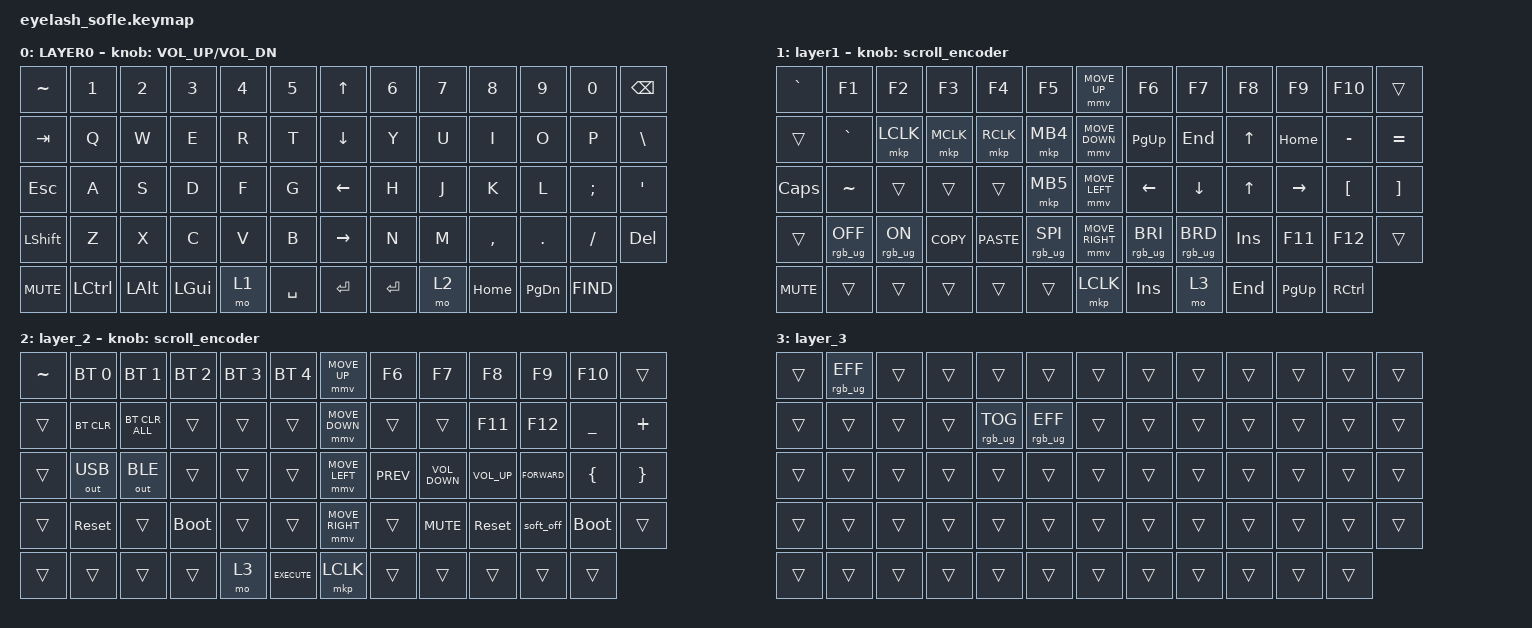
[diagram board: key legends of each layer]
#define ZMK_POINTING_DEFAULT_MOVE_VAL 1200  // 600
#define ZMK_POINTING_DEFAULT_SCRL_VAL 25   // 10

#include <input/processors.dtsi>
#include <zephyr/dt-bindings/input/input-event-codes.h>
#include <behaviors.dtsi>
#include <dt-bindings/zmk/bt.h>
#include <dt-bindings/zmk/keys.h>
#include <dt-bindings/zmk/outputs.h>
#include <dt-bindings/zmk/pointing.h>
#include <dt-bindings/zmk/rgb.h>

&mmv_input_listener { input-processors = <&zip_xy_scaler 2 1>; };

&msc_input_listener { input-processors = <&zip_scroll_scaler 2 1>; };

&msc {
    acceleration-exponent = <1>;      // 0
    time-to-max-speed-ms = <100>;       // 300
    delay-ms = <0>;                   // 0
};

&mmv {
    time-to-max-speed-ms = <500>;
    acceleration-exponent = <1>;
    trigger-period-ms = <16>;
};

/ {
    scroll_encoder: scroll_encoder {
        compatible = "zmk,behavior-sensor-rotate";
        #sensor-binding-cells = <0>;
        bindings = <&msc SCRL_DOWN>, <&msc SCRL_UP>;

        tap-ms = <100>;
    };

    behaviors {
    };

    keymap {
        compatible = "zmk,keymap";

        layer0 {
            bindings = <
&kp TILDE   &kp N1     &kp N2        &kp N3        &kp N4  &kp N5       &kp UP_ARROW     &kp N6      &kp N7  &kp N8     &kp N9         &kp N0      &kp BACKSPACE
&kp TAB     &kp Q      &kp W         &kp E         &kp R   &kp T        &kp DOWN_ARROW   &kp Y       &kp U   &kp I      &kp O          &kp P       &kp BSLH
&kp ESCAPE  &kp A      &kp S         &kp D         &kp F   &kp G        &kp LEFT_ARROW   &kp H       &kp J   &kp K      &kp L          &kp SEMI    &kp APOS
&kp LSHFT   &kp Z      &kp X         &kp C         &kp V   &kp B        &kp RIGHT_ARROW  &kp N       &kp M   &kp COMMA  &kp DOT        &kp FSLH    &kp DELETE
&kp C_MUTE  &kp LCTRL  &kp LEFT_ALT  &kp LEFT_GUI  &mo 1   &kp SPACE    &kp ENTER        &kp RETURN  &mo 2   &kp HOME   &kp PAGE_DOWN  &kp K_FIND
            >;

            sensor-bindings = <&inc_dec_kp C_VOLUME_UP C_VOL_DN>;
            display-name = "LAYER0";
        };

        layer_1 {
            bindings = <
&kp GRAVE     &kp F1           &kp F2          &kp F3      &kp F4       &kp F5             &mmv MOVE_UP     &kp F6           &kp F7           &kp F8      &kp F9       &kp F10           &trans
&trans        &kp GRAVE        &mkp LCLK       &mkp MCLK   &mkp RCLK    &mkp MB4           &mmv MOVE_DOWN   &kp PG_UP        &kp END          &kp UP      &kp HOME     &kp MINUS         &kp EQUAL
&kp CAPSLOCK  &kp TILDE        &trans          &trans      &trans       &mkp MB5           &mmv MOVE_LEFT   &kp LEFT         &kp DOWN         &kp UP      &kp RIGHT    &kp LEFT_BRACKET  &kp RIGHT_BRACKET
&trans        &rgb_ug RGB_OFF  &rgb_ug RGB_ON  &kp K_COPY  &kp K_PASTE  &rgb_ug RGB_SPI    &mmv MOVE_RIGHT  &rgb_ug RGB_BRI  &rgb_ug RGB_BRD  &kp INSERT  &kp F11      &kp F12           &trans
&kp C_MUTE    &trans           &trans          &trans      &trans       &trans             &mkp LCLK        &kp INSERT       &mo 3            &kp END     &kp PAGE_UP  &kp RCTRL
            >;

            display-name = "layer1";
            sensor-bindings = <&scroll_encoder>;
        };

        layer_2 {
            bindings = <
&kp TILDE  &bt BT_SEL 0  &bt BT_SEL 1    &bt BT_SEL 2  &bt BT_SEL 3  &bt BT_SEL 4     &mmv MOVE_UP     &kp F6      &kp F7             &kp F8           &kp F9         &kp F10      &trans
&trans     &bt BT_CLR    &bt BT_CLR_ALL  &trans        &trans        &trans           &mmv MOVE_DOWN   &trans      &trans             &kp F11          &kp F12        &kp UNDER    &kp PLUS
&trans     &out OUT_USB  &out OUT_BLE    &trans        &trans        &trans           &mmv MOVE_LEFT   &kp K_PREV  &kp C_VOLUME_DOWN  &kp C_VOLUME_UP  &kp K_FORWARD  &kp LBRC     &kp RBRC
&trans     &sys_reset    &trans          &bootloader   &trans        &trans           &mmv MOVE_RIGHT  &trans      &kp K_MUTE         &sys_reset       &soft_off      &bootloader  &trans
&trans     &trans        &trans          &trans        &mo 3         &kp K_EXECUTE    &mkp LCLK        &trans      &trans             &trans           &trans         &trans
            >;

            sensor-bindings = <&scroll_encoder>;
        };

        layer_3 {
            bindings = <
&trans  &rgb_ug RGB_EFF  &trans  &trans  &trans           &trans             &trans  &trans  &trans  &trans  &trans  &trans  &trans
&trans  &trans           &trans  &trans  &rgb_ug RGB_TOG  &rgb_ug RGB_EFF    &trans  &trans  &trans  &trans  &trans  &trans  &trans
&trans  &trans           &trans  &trans  &trans           &trans             &trans  &trans  &trans  &trans  &trans  &trans  &trans
&trans  &trans           &trans  &trans  &trans           &trans             &trans  &trans  &trans  &trans  &trans  &trans  &trans
&trans  &trans           &trans  &trans  &trans           &trans             &trans  &trans  &trans  &trans  &trans  &trans
            >;
        };
    };
};
